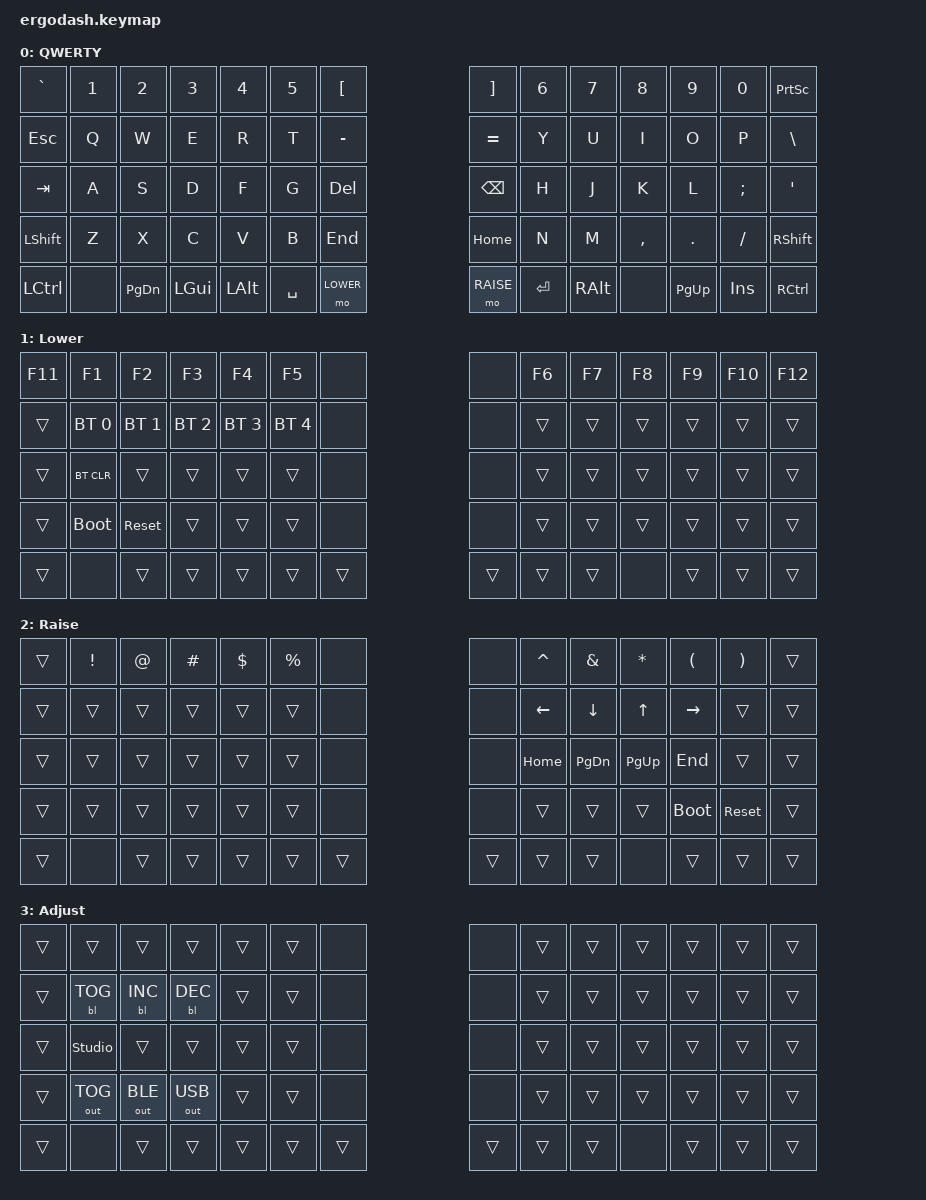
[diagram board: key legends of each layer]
/*
 * ErgoDash FT keymap
 *
 * Klasyczny układ ErgoDash + warstwa ADJ z BT/bootloader/backlight/studio_unlock
 * Backlight: 70 LED 3mm sterowane przez MOSFET na pinie D10 (P0.09), PWM
 * Kompatybilne z ZMK Studio (lewa połówka = central, USB)
 *
 * Warstwy:
 *   0 DEFAULT - QWERTY, klasyczny układ ErgoDash
 *   1 LOWER   - F-keys, BT, bootloader (podtrzymanie konwencji ErgoDash)
 *   2 RAISE   - cyfry/symbole/strzałki
 *   3 ADJ     - dostęp do studio_unlock, backlight, dodatkowe funkcje
 *               (aktywowana przez LOWER + RAISE)
 */

#include <behaviors.dtsi>
#include <dt-bindings/zmk/keys.h>
#include <dt-bindings/zmk/bt.h>
#include <dt-bindings/zmk/backlight.h>
#include <dt-bindings/zmk/outputs.h>

#define DEFAULT 0
#define LOWER   1
#define RAISE   2
#define ADJ     3

/*
 * Backlight - PWM na pinie D10 = P0.09
 * MOSFET N-channel sterujący wszystkimi 70 LED (35 per strona).
 * Ten sam pin na obu połówkach - na każdej działa lokalnie.
 */
&pinctrl {
    pwm0_default: pwm0_default {
        group1 {
            psels = <NRF_PSEL(PWM_OUT0, 0, 9)>;
        };
    };

    pwm0_sleep: pwm0_sleep {
        group1 {
            psels = <NRF_PSEL(PWM_OUT0, 0, 9)>;
            low-power-enable;
        };
    };
};

&pwm0 {
    status = "okay";
    pinctrl-0 = <&pwm0_default>;
    pinctrl-1 = <&pwm0_sleep>;
    pinctrl-names = "default", "sleep";
};

/ {
    backlight: pwmleds {
        compatible = "pwm-leds";
        pwm_led_0 {
            pwms = <&pwm0 0 10000 PWM_POLARITY_NORMAL>;
        };
    };

    chosen {
        zmk,backlight = &backlight;
    };

    /*
     * Combo dostępu do warstwy ADJ:
     * Tylko aktywne gdy oba LOWER i RAISE są wciśnięte.
     */
    conditional_layers {
        compatible = "zmk,conditional-layers";
        tri_layer {
            if-layers = <LOWER RAISE>;
            then-layer = <ADJ>;
        };
    };

    keymap {
        compatible = "zmk,keymap";

        default_layer {
            display-name = "QWERTY";
/* QWERTY - klasyczny ErgoDash
 * .----------------------------------------------------------------------------------------------------------------------.
 * |  `   |   1  |   2  |   3  |   4  |   5  |  [   |                    |  ]   |   6  |   7  |   8  |   9  |   0  | PScr |
 * |------+------+------+------+------+------+------+--------------------+------+------+------+------+------+------+------|
 * | ESC  |   Q  |   W  |   E  |   R  |   T  |  -   |                    |  =   |   Y  |   U  |   I  |   O  |   P  |  \   |
 * |------+------+------+------+------+------+------+--------------------+------+------+------+------+------+------+------|
 * | Tab  |   A  |   S  |   D  |   F  |   G  | Del  |                    | Bksp |   H  |   J  |   K  |   L  |   ;  |  '   |
 * |------+------+------+------+------+------+---------------------------+------+------+------+------+------+------+------|
 * | Shift|   Z  |   X  |   C  |   V  |   B  | End  |                    | Home |   N  |   M  |   ,  |   .  |   /  | Shift|
 * |-------------+------+------+------+------+------+------+------+------+------+------+------+------+------+-------------|
 * | Ctrl |      | PgDn | Win  |||||||| Alt  | Space| Lower|||||||| Raise| Enter| RAlt ||||||||      | PgUp | Ins  | RCtrl|
 * .----------------------------------------------------------------------------------------------------------------------.
 */
            bindings = <
&kp GRAVE  &kp N1     &kp N2     &kp N3     &kp N4     &kp N5     &kp LBKT                            &kp RBKT   &kp N6     &kp N7     &kp N8     &kp N9     &kp N0     &kp PSCRN
&kp ESC    &kp Q      &kp W      &kp E      &kp R      &kp T      &kp MINUS                           &kp EQUAL  &kp Y      &kp U      &kp I      &kp O      &kp P      &kp BSLH
&kp TAB    &kp A      &kp S      &kp D      &kp F      &kp G      &kp DEL                             &kp BSPC   &kp H      &kp J      &kp K      &kp L      &kp SEMI   &kp SQT
&kp LSHFT  &kp Z      &kp X      &kp C      &kp V      &kp B      &kp END                             &kp HOME   &kp N      &kp M      &kp COMMA  &kp DOT    &kp FSLH   &kp RSHFT
&kp LCTRL  &none      &kp PG_DN  &kp LGUI   &kp LALT   &kp SPACE  &mo LOWER                           &mo RAISE  &kp RET    &kp RALT   &none      &kp PG_UP  &kp INS    &kp RCTRL
            >;
        };

        lower_layer {
            display-name = "Lower";
/* LOWER - F-keys, BT, system
 * .----------------------------------------------------------------------------------------------------------------------.
 * |  F11 |  F1  |  F2  |  F3  |  F4  |  F5  |      |                    |      |  F6  |  F7  |  F8  |  F9  |  F10 |  F12 |
 * |------+------+------+------+------+------+------+--------------------+------+------+------+------+------+------+------|
 * |      | BT 0 | BT 1 | BT 2 | BT 3 | BT 4 |      |                    |      |      |      |      |      |      |      |
 * |------+------+------+------+------+------+------+--------------------+------+------+------+------+------+------+------|
 * |      |BT CLR|      |      |      |      |      |                    |      |      |      |      |      |      |      |
 * |------+------+------+------+------+------+---------------------------+------+------+------+------+------+------+------|
 * | Shift| Boot | Reset|      |      |      |      |                    |      |      |      |      |      |      | Shift|
 * |-------------+------+------+------+------+------+------+------+------+------+------+------+------+------+-------------|
 * | Ctrl |      |      |  Win |||||||| Alt  |      | Lower|||||||| Raise|      | RAlt ||||||||      |      |      | RCtrl|
 * .----------------------------------------------------------------------------------------------------------------------.
 */
            bindings = <
&kp F11    &kp F1        &kp F2        &kp F3        &kp F4        &kp F5        &none                              &none   &kp F6  &kp F7  &kp F8  &kp F9  &kp F10  &kp F12
&trans     &bt BT_SEL 0  &bt BT_SEL 1  &bt BT_SEL 2  &bt BT_SEL 3  &bt BT_SEL 4  &none                              &none   &trans  &trans  &trans  &trans  &trans   &trans
&trans     &bt BT_CLR    &trans        &trans        &trans        &trans        &none                              &none   &trans  &trans  &trans  &trans  &trans   &trans
&trans     &bootloader   &sys_reset    &trans        &trans        &trans        &none                              &none   &trans  &trans  &trans  &trans  &trans   &trans
&trans     &none         &trans        &trans        &trans        &trans        &trans                             &trans  &trans  &trans  &none   &trans  &trans   &trans
            >;
        };

        raise_layer {
            display-name = "Raise";
/* RAISE - symbole, strzałki
 * .----------------------------------------------------------------------------------------------------------------------.
 * |      |  !   |  @   |  #   |  $   |  %   |      |                    |      |  ^   |  &   |  *   |  (   |  )   |      |
 * |------+------+------+------+------+------+------+--------------------+------+------+------+------+------+------+------|
 * |      |      |      |      |      |      |      |                    |      |  Lt  |  Dn  |  Up  |  Rt  |      |      |
 * |------+------+------+------+------+------+------+--------------------+------+------+------+------+------+------+------|
 * |      |      |      |      |      |      |      |                    |      | HOME |PG_DN | PG_UP|  END |      |      |
 * |------+------+------+------+------+------+---------------------------+------+------+------+------+------+------+------|
 * | Shift|      |      |      |      |      |      |                    |      |      |      |      | Boot | Reset| Shift|
 * |-------------+------+------+------+------+------+------+------+------+------+------+------+------+------+-------------|
 * | Ctrl |      |      |  Win |||||||| Alt  |      | Lower|||||||| Raise|      | RAlt ||||||||      |      |      | RCtrl|
 * .----------------------------------------------------------------------------------------------------------------------.
 */
            bindings = <
&trans  &kp EXCL   &kp AT      &kp HASH    &kp DLLR    &kp PRCNT  &none                              &none   &kp CARET  &kp AMPS   &kp ASTRK  &kp LPAR     &kp RPAR    &trans
&trans  &trans     &trans      &trans      &trans      &trans     &none                              &none   &kp LEFT   &kp DOWN   &kp UP     &kp RIGHT    &trans      &trans
&trans  &trans     &trans      &trans      &trans      &trans     &none                              &none   &kp HOME   &kp PG_DN  &kp PG_UP  &kp END      &trans      &trans
&trans  &trans     &trans      &trans      &trans      &trans     &none                              &none   &trans     &trans     &trans     &bootloader  &sys_reset  &trans
&trans  &none      &trans      &trans      &trans      &trans     &trans                             &trans  &trans     &trans     &none      &trans       &trans      &trans
            >;
        };

        adj_layer {
            display-name = "Adjust";
/* ADJ - aktywowana przez LOWER + RAISE jednocześnie
 *  Backlight (BL_TOG / BL_INC / BL_DEC), studio_unlock, BT
 * .----------------------------------------------------------------------------------------------------------------------.
 * |      |      |      |      |      |      |      |                    |      |      |      |      |      |      |      |
 * |------+------+------+------+------+------+------+--------------------+------+------+------+------+------+------+------|
 * |      |BL TOG|BL INC|BL DEC|      |      |      |                    |      |      |      |      |      |      |      |
 * |------+------+------+------+------+------+------+--------------------+------+------+------+------+------+------+------|
 * |      |UNLOCK|      |      |      |      |      |                    |      |      |      |      |      |      |      |
 * |------+------+------+------+------+------+---------------------------+------+------+------+------+------+------+------|
 * |      |OUT TG|OUT BT|OUT US|      |      |      |                    |      |      |      |      |      |      |      |
 * |-------------+------+------+------+------+------+------+------+------+------+------+------+------+------+-------------|
 * |      |      |      |      |||||||      |      |      |||||||      |      |      ||||||||      |      |      |      |
 * .----------------------------------------------------------------------------------------------------------------------.
 */
            bindings = <
&trans  &trans          &trans          &trans          &trans  &trans  &none                            &none   &trans  &trans  &trans  &trans  &trans  &trans
&trans  &bl BL_TOG      &bl BL_INC      &bl BL_DEC      &trans  &trans  &none                            &none   &trans  &trans  &trans  &trans  &trans  &trans
&trans  &studio_unlock  &trans          &trans          &trans  &trans  &none                            &none   &trans  &trans  &trans  &trans  &trans  &trans
&trans  &out OUT_TOG    &out OUT_BLE    &out OUT_USB    &trans  &trans  &none                            &none   &trans  &trans  &trans  &trans  &trans  &trans
&trans  &none           &trans          &trans          &trans  &trans  &trans                           &trans  &trans  &trans  &none   &trans  &trans  &trans
            >;
        };
    };
};
